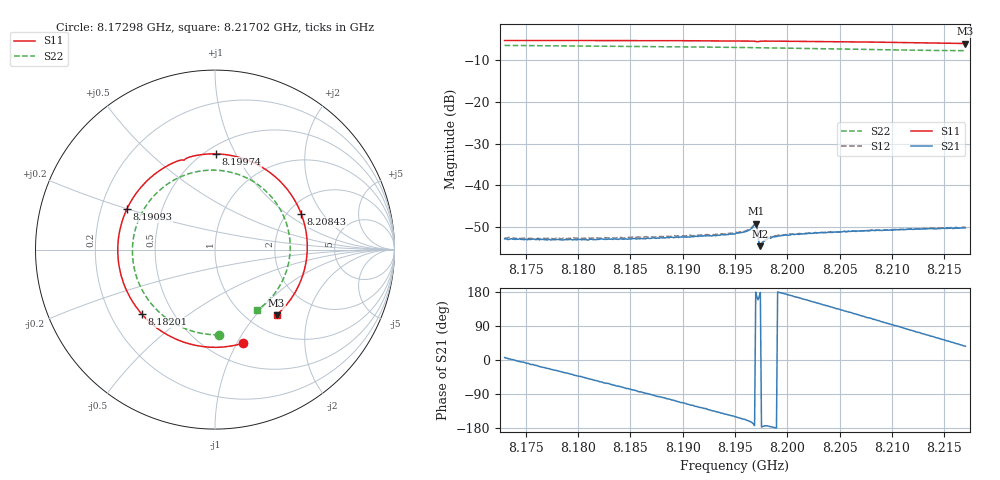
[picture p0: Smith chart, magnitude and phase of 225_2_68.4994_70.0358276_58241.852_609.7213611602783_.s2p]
#  HZ  S  RI  R  50.00
! Rohde & Schwarz Vector Network Analyzer
! Rohde-Schwarz,ZNB20-2Port,1311601062101988,3.16
! Created: UTC 3/20/2024, 4:58:42 PM
! freq[Hz]  re:S11  im:S11  re:S21  im:S21  re:S12  im:S12  re:S22  im:S22
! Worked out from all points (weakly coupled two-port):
!   401 points, 8.17298 GHz to 8.21702 GHz, reference 50 ohm
!   highest |S21| = -49.14 dB at 8.19698 GHz (marker M1); lowest = -54.5 dB at 8.19742 GHz (marker M2)
!   lowest |S11| = -6.0 dB at 8.21702 GHz (marker M3), VSWR 3.01, Z = 66.3 - j64.6 ohm
!   |S11| at or under -10 dB: nowhere
!   |S22| runs from -7.7 to -6.5 dB; largest |S21 - S12| = 0.00018
!   S11 on the Smith chart (normalised r, x): 8.17298 GHz: 0.71, -1.06; 8.18201 GHz: 0.33, -0.34; 8.19093 GHz: 0.31, +0.20; 8.19974 GHz: 0.56, +0.84; 8.20843 GHz: 2.36, +1.28; 8.21702 GHz: 1.33, -1.29
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8.172983e9  0.1549 -0.522  0.00228 0.000255  0.00235 0.000257  0.0221 -0.4746
8.176616e9  -0.0914 -0.5367  0.00214 -0.000749  0.00219 -0.000739  -0.1793 -0.4349
8.18036e9  -0.3259 -0.4352  0.0016 -0.00154  0.00164 -0.00167  -0.3477 -0.3105
8.182011e9  -0.4095 -0.3573  0.00124 -0.00189  0.00125 -0.00197  -0.4006 -0.235
8.184983e9  -0.5121 -0.1793  0.000511 -0.00222  0.000468 -0.00233  -0.4547 -0.0793
8.187736e9  -0.5417 0.00933  -0.000265 -0.00231  -0.000359 -0.00243  -0.4529 0.0729
8.190928e9  -0.4913 0.2255  -0.00119 -0.00212  -0.00131 -0.00213  -0.3885 0.237
8.195002e9  -0.3078 0.441  -0.00227 -0.00132  -0.0024 -0.0013  -0.2235 0.3902
8.196103e9  -0.2399 0.4801  -0.00263 -0.00102  -0.0027 -0.000964  -0.1674 0.4156
8.196873e9  -0.1862 0.4992  -0.00334 -0.000402  -0.00346 -0.000255  -0.1258 0.4284
8.196983e9  -0.1779 0.4992  -0.00349 5.6e-05  -0.00357 0.000192  -0.1199 0.4299
8.197424e9  -0.1586 0.509  -0.00187 6.56e-05  -0.00191 0.000177  -0.0958 0.4352
8.197534e9  -0.1507 0.5124  -0.00197 -0.000105  -0.00202 -2.02e-05  -0.0897 0.4362
8.197974e9  -0.1193 0.5214  -0.00223 -0.000242  -0.00226 -0.000137  -0.065 0.44
8.198635e9  -0.0726 0.5296  -0.00245 -0.00011  -0.00245 -1.66e-05  -0.0278 0.4427
8.199736e9  0.00543 0.5334  -0.00254 0.000244  -0.00255 0.00032  0.0348 0.4402
8.202378e9  0.1875 0.4959  -0.0024 0.00116  -0.00242 0.00127  0.179 0.398
8.20524e9  0.3567 0.3862  -0.00184 0.00209  -0.00177 0.00217  0.3104 0.2981
8.208433e9  0.4808 0.1981  -0.000818 0.00277  -0.000748 0.00284  0.4016 0.1342
8.209754e9  0.506 0.1075  -0.000273 0.00291  -0.00021 0.00295  0.417 0.0563
8.213277e9  0.4894 -0.142  0.00121 0.00277  0.00128 0.00278  0.3844 -0.155
8.21702e9  0.3428 -0.365  0.00251 0.00185  0.0026 0.00181  0.2363 -0.3365
